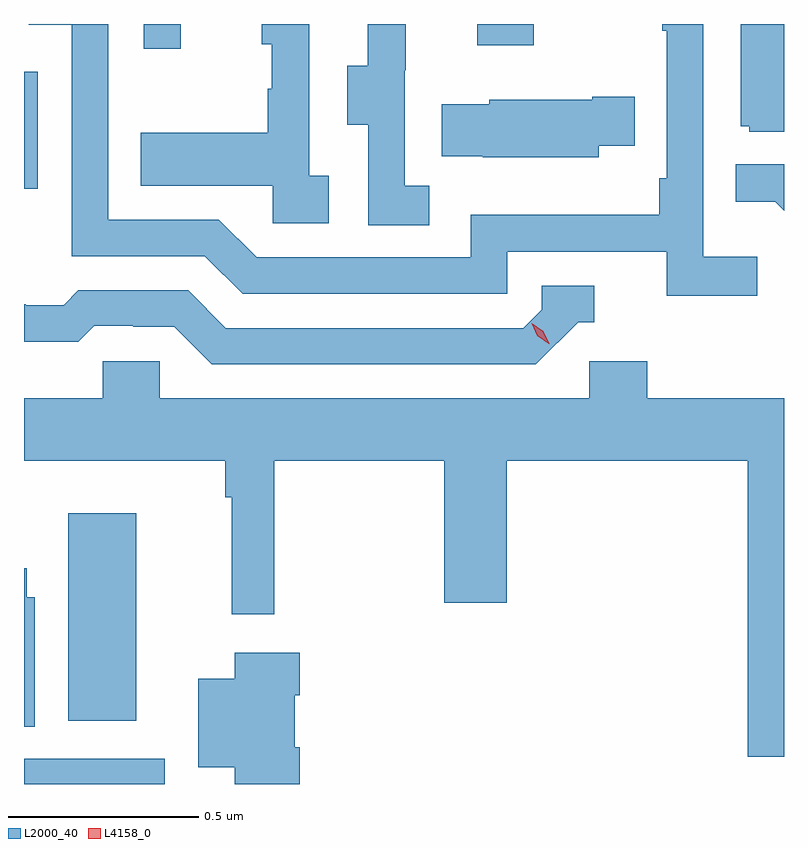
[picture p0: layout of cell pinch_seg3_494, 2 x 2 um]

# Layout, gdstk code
import gdstk
lib = gdstk.Library(unit=1e-6, precision=1e-09)
def R(c, l, rs):  # rectangles x0, y0, x1, y1
    for r in rs: c.add(gdstk.rectangle(r[:2], r[2:], *l))
def P(c, l, *ps):  # polygons
    for p in ps: c.add(gdstk.Polygon(p, *l))
L2000_40 = (2000, 40)
L4158_0 = (4158, 0)

pinch_seg3_494 = lib.new_cell('pinch_seg3_494')
R(pinch_seg3_494, L2000_40, [(1015.05,676.089,1015.42,676.155), (1015.166,676.256,1015.345,676.801), (1015.05,677.655,1015.086,677.964), (1015.365,678.024,1015.463,678.089), (1016.243,678.033,1016.391,678.089)])
P(pinch_seg3_494, L2000_40, [(1016.116,677.663),(1016.052,677.663),(1016.052,677.967),(1016.054,677.967),(1016.054,678.089),(1015.955,678.089),(1015.955,677.979),(1015.901,677.979),(1015.901,677.824),(1015.956,677.824),(1015.956,677.56),(1016.116,677.56)],
  [(1017.05,678.089),(1016.936,678.089),(1016.936,677.82),(1016.958,677.82),(1016.958,677.805),(1017.05,677.805)],
  [(1015.852,677.69),(1015.8,677.69),(1015.8,678.089),(1015.676,678.089),(1015.676,678.036),(1015.702,678.036),(1015.702,677.918),(1015.692,677.918),(1015.692,677.803),(1015.357,677.803),(1015.357,677.663),(1015.704,677.663),(1015.704,677.565),(1015.852,677.565)],
  [(1016.98,677.476),(1016.838,677.476),(1016.838,678.089),(1016.73,678.089),(1016.73,678.071),(1016.742,678.071),(1016.742,677.683),(1016.722,677.683),(1016.722,677.587),(1016.226,677.587),(1016.226,677.475),(1015.662,677.475),(1015.563,677.574),(1015.272,677.574),(1015.272,678.089),(1015.063,678.089),(1015.063,678.087),(1015.176,678.087),(1015.176,677.478),(1015.526,677.478),(1015.625,677.379),(1016.322,677.379),(1016.322,677.49),(1016.741,677.49),(1016.741,677.374),(1016.98,677.374)],
  [(1016.563,677.768),(1016.657,677.768),(1016.657,677.898),(1016.546,677.898),(1016.546,677.89),(1016.274,677.89),(1016.274,677.878),(1016.149,677.878),(1016.149,677.741),(1016.257,677.741),(1016.257,677.738),(1016.563,677.738)],
  [(1017.05,677.72),(1016.923,677.72),(1016.923,677.621),(1017.027,677.621),(1017.05,677.598)],
  [(1016.508,677.304),(1016.551,677.304),(1016.551,677.4),(1016.412,677.4),(1016.412,677.337),(1016.364,677.289),(1015.581,677.289),(1015.482,677.388),(1015.193,677.388),(1015.154,677.349),(1015.055,677.349),(1015.055,677.352),(1015.05,677.352),(1015.05,677.253),(1015.193,677.253),(1015.235,677.295),(1015.338,677.295),(1015.338,677.292),(1015.445,677.292),(1015.544,677.193),(1016.397,677.193)],
  [(1017.05,677.104),(1016.69,677.104),(1016.69,677.202),(1016.538,677.202),(1016.538,677.104),(1015.407,677.104),(1015.407,677.202),(1015.257,677.202),(1015.257,677.104),(1015.05,677.104),(1015.05,676.94),(1015.579,676.94),(1015.579,676.844),(1015.597,676.844),(1015.597,676.536),(1015.708,676.536),(1015.708,676.94),(1016.156,676.94),(1016.156,676.566),(1016.32,676.566),(1016.32,676.94),(1016.954,676.94),(1016.954,676.161),(1017.05,676.161)],
  [(1015.078,676.581),(1015.057,676.581),(1015.057,676.657),(1015.05,676.657),(1015.05,676.24),(1015.078,676.24)],
  [(1015.775,676.186),(1015.762,676.186),(1015.762,676.322),(1015.775,676.322),(1015.775,676.435),(1015.604,676.435),(1015.604,676.366),(1015.508,676.366),(1015.508,676.133),(1015.604,676.133),(1015.604,676.089),(1015.775,676.089)])
P(pinch_seg3_494, L4158_0, [(1016.431,677.248),(1016.401,677.268),(1016.386,677.301),(1016.386,677.301),(1016.386,677.301),(1016.416,677.281),(1016.432,677.248),(1016.432,677.248)])

lib.write_gds('pinch_seg3_494.gds')
